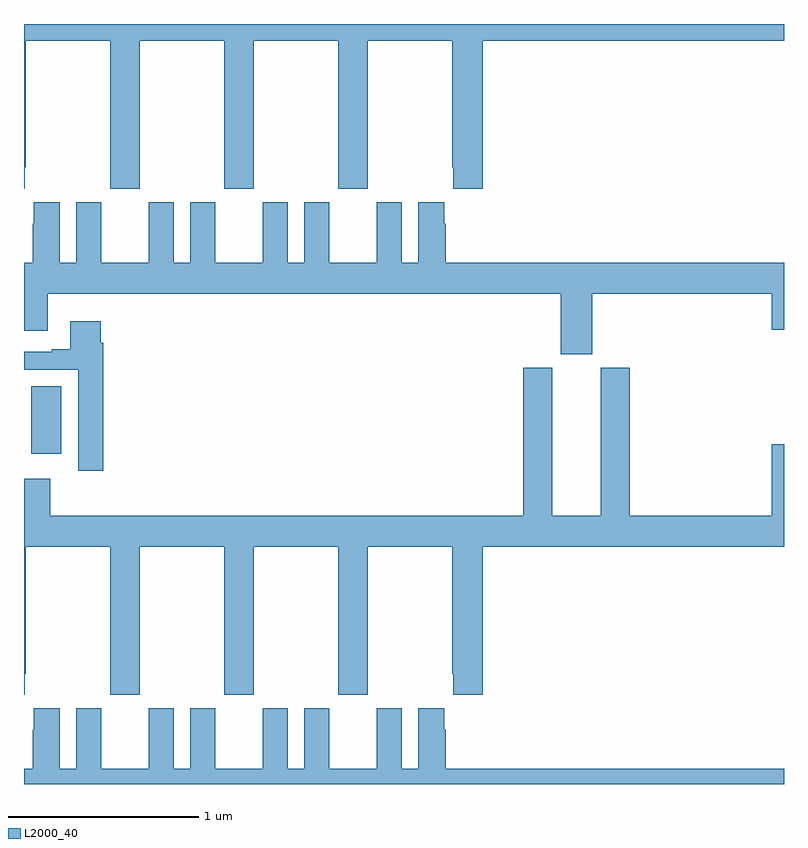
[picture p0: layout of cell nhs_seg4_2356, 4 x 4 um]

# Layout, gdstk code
import gdstk
lib = gdstk.Library(unit=1e-6, precision=1e-09)
def R(c, l, rs):  # rectangles x0, y0, x1, y1
    for r in rs: c.add(gdstk.rectangle(r[:2], r[2:], *l))
def P(c, l, *ps):  # polygons
    for p in ps: c.add(gdstk.Polygon(p, *l))
L2000_40 = (2000, 40)

nhs_seg4_2356 = lib.new_cell('nhs_seg4_2356')
R(nhs_seg4_2356, L2000_40, [(233.039,802.638,233.197,802.994)])
P(nhs_seg4_2356, L2000_40, [(233.005,804.145),(233.01,804.145),(233.01,804.812),(233.455,804.812),(233.455,804.033),(233.61,804.033),(233.61,804.812),(234.055,804.812),(234.055,804.033),(234.21,804.033),(234.21,804.812),(234.655,804.812),(234.655,804.033),(234.81,804.033),(234.81,804.812),(235.255,804.812),(235.255,804.145),(235.259,804.145),(235.259,804.033),(235.415,804.033),(235.415,804.812),(237,804.812),(237,804.9),(233,804.9),(233,804.033),(233.005,804.033)],
  [(235.99,803.48),(236.936,803.48),(236.936,803.292),(237,803.292),(237,803.644),(235.22,803.644),(235.22,803.849),(235.213,803.849),(235.213,803.962),(235.076,803.962),(235.076,803.644),(234.988,803.644),(234.988,803.962),(234.857,803.962),(234.857,803.644),(234.607,803.644),(234.607,803.962),(234.476,803.962),(234.476,803.644),(234.388,803.644),(234.388,803.962),(234.257,803.962),(234.257,803.644),(234.007,803.644),(234.007,803.962),(233.876,803.962),(233.876,803.644),(233.788,803.644),(233.788,803.962),(233.657,803.962),(233.657,803.644),(233.407,803.644),(233.407,803.962),(233.276,803.962),(233.276,803.644),(233.188,803.644),(233.188,803.962),(233.051,803.962),(233.051,803.849),(233.045,803.849),(233.045,803.644),(233,803.644),(233,803.286),(233.125,803.286),(233.125,803.48),(235.826,803.48),(235.826,803.163),(235.99,803.163)],
  [(233.417,803.222),(233.404,803.222),(233.404,803.335),(233.243,803.335),(233.243,803.188),(233.147,803.188),(233.147,803.175),(233,803.175),(233,803.079),(233.285,803.079),(233.285,802.548),(233.417,802.548)],
  [(233.005,801.481),(233.01,801.481),(233.01,802.148),(233.455,802.148),(233.455,801.369),(233.61,801.369),(233.61,802.148),(234.055,802.148),(234.055,801.369),(234.21,801.369),(234.21,802.148),(234.655,802.148),(234.655,801.369),(234.81,801.369),(234.81,802.148),(235.255,802.148),(235.255,801.481),(235.259,801.481),(235.259,801.369),(235.415,801.369),(235.415,802.148),(237,802.148),(237,802.687),(236.936,802.687),(236.936,802.312),(236.189,802.312),(236.189,803.091),(236.036,803.091),(236.036,802.312),(235.78,802.312),(235.78,803.091),(235.628,803.091),(235.628,802.312),(233.138,802.312),(233.138,802.507),(233,802.507),(233,801.369),(233.005,801.369)],
  [(237,800.98),(235.22,800.98),(235.22,801.185),(235.213,801.185),(235.213,801.298),(235.076,801.298),(235.076,800.98),(234.988,800.98),(234.988,801.298),(234.857,801.298),(234.857,800.98),(234.607,800.98),(234.607,801.298),(234.476,801.298),(234.476,800.98),(234.388,800.98),(234.388,801.298),(234.257,801.298),(234.257,800.98),(234.007,800.98),(234.007,801.298),(233.876,801.298),(233.876,800.98),(233.788,800.98),(233.788,801.298),(233.657,801.298),(233.657,800.98),(233.407,800.98),(233.407,801.298),(233.276,801.298),(233.276,800.98),(233.188,800.98),(233.188,801.298),(233.051,801.298),(233.051,801.185),(233.045,801.185),(233.045,800.98),(233,800.98),(233,800.9),(237,800.9)])

lib.write_gds('nhs_seg4_2356.gds')
